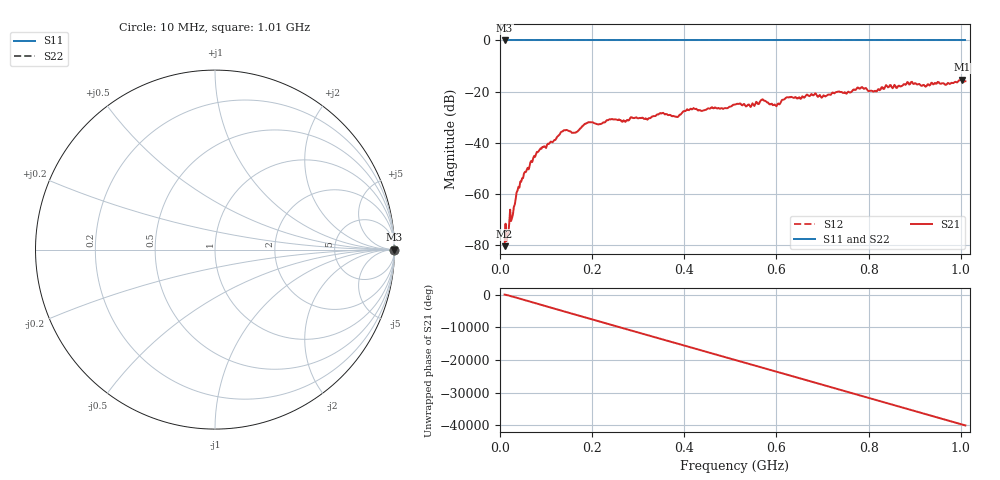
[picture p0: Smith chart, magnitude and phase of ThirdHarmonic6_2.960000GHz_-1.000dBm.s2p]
! 8/17/2025 8:21:04 AM
! C:\ANRITSUVNA\TEMP\TEMP.S2P
! CHANNEL.1
! TR.MEASUREMENT
! RAW.DATA
! RF.CORRECTION.OFF
! AVERAGING.OFF
! IF.BANDWIDTH: 5KHZ
! SWEEPTYPE:  FREQ.SWEEP(Linear)
! Reference Plane Port Info
! PORT:  PORT1  PORT2
! DISTANCE:  0  m  0  m
! TIME:  0  s  0  s
! PHASE.OFFSET:  0  deg.  0  deg.
! LOSS:  0  dB  0  dB
! REF.LOSS:  0  dB  0  dB
! REF.FREQ:  0  Hz  0  Hz
! Power Info
! POWER:  -20  dBm  -20  dBm
! EFF.POWER:  -20  dBm  -20  dBm
! SOURCE.ATTEN:  0  dB  0  dB
! TEST.ATTEN:  0  dB  0  dB
# GHZ S RI R 50.0
! FREQ.GHZ  S11RE  S11IM  S21RE  S21IM  S12RE  S12IM  S22RE  S22IM
!; PortSelection: Port_12
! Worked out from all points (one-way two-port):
!   501 points, 10 MHz to 1.01 GHz, reference 50 ohm
!   highest |S21| = -15.37 dB at 1.002 GHz (marker M1); lowest = -80.4 dB at 10 MHz (marker M2)
!   lowest |S11| = 0.0 dB at 10 MHz (marker M3)
!   |S11| at or under -10 dB: nowhere
!   |S22| runs from 0.0 to 0.0 dB; largest |S21 - S12| = 1.2
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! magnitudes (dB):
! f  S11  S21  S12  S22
! 10 MHz  0.0  -80.4  0.0  0.0
! 28 MHz  0.0  -68.1  0.0  0.0
! 40 MHz  0.0  -57.2  0.0  0.0
! 76 MHz  0.0  -45.5  0.0  0.0
! 136 MHz  0.0  -35.5  0.0  0.0
! 162 MHz  0.0  -36.0  0.0  0.0
! 178 MHz  0.0  -33.6  0.0  0.0
! 344 MHz  0.0  -28.9  0.0  0.0
! 384 MHz  0.0  -29.9  0.0  0.0
! 410 MHz  0.0  -27.3  0.0  0.0
! 510 MHz  0.0  -25.1  0.0  0.0
! 548 MHz  0.0  -24.6  0.0  0.0
! 570 MHz  0.0  -23.0  0.0  0.0
! 596 MHz  0.0  -25.0  0.0  0.0
! 624 MHz  0.0  -22.2  0.0  0.0
! 678 MHz  0.0  -21.3  0.0  0.0
! 702 MHz  0.0  -21.5  0.0  0.0
! 782 MHz  0.0  -18.8  0.0  0.0
! 814 MHz  0.0  -19.7  0.0  0.0
! 844 MHz  0.0  -18.2  0.0  0.0
! 1.002 GHz  0.0  -15.4  0.0  0.0
! 1.01 GHz  0.0  -15.9  0.0  0.0
